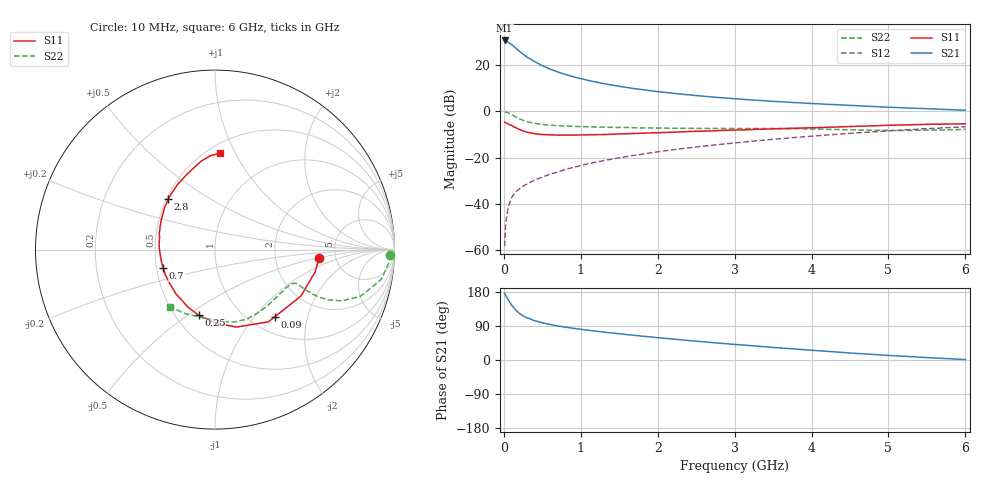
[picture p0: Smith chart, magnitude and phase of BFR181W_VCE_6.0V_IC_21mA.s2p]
! Infineon Technologies  Discrete & RF Semiconductors
! BFR181W
! VCE =  6.0 V,  IC =  21 mA
! Common Emitter S-Parameters:  Jan 2017
# GHz  S  MA  R  50
!  f  S11  S21  S12  S22
! GHz  MAG  ANG  MAG  ANG  MAG  ANG  MAG  ANG
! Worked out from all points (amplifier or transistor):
!   77 points, 10 MHz to 6 GHz, reference 50 ohm
!   highest |S21| = 30.7 dB at 10 MHz (marker M1)
!   |S21| within 3 dB of that: start of sweep to 143.9 MHz
!   unconditionally stable (mu >= 1): 646.3 MHz to 2.457 GHz
!   at 130 MHz: K = 0.42, MSG = 32.0 dB, |S12| = -36.0 dB
!   at 2.2 GHz: K = 1.03, MAG = 11.2 dB, |S12| = -16.7 dB
!   at 6 GHz: K = 0.82, MSG = 3.6 dB, |S12| = -6.7 dB
!   S11 on the Smith chart (normalised r, x): 10 MHz: 3.70, -0.55; 90 MHz: 1.28, -1.28; 250 MHz: 0.65, -0.55; 700 MHz: 0.54, -0.12; 2.8 GHz: 0.51, +0.34; 6 GHz: 0.58, +0.87
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0.01  0.5823 -4.8  34.33 176.1  0.0012 96.9  0.9747 -1.7
0.02  0.571 -12.9  33.71 171.7  0.0029 83.0  0.9745 -3.9
0.05  0.5438 -28.5  32.2 160.8  0.0072 76.4  0.9407 -10.2
0.09  0.5012 -48.2  28.7 148.1  0.0122 72.3  0.8681 -16.2
0.1  0.5006 -53.5  28.07 144.5  0.0134 71.7  0.8516 -17.8
0.15  0.4478 -74.5  23.85 132.6  0.0176 66.6  0.7619 -22.0
0.2  0.407 -90.5  20.17 123.3  0.0208 65.3  0.6903 -23.9
0.25  0.3769 -104.0  17.34 116.5  0.024 63.1  0.6386 -24.5
0.3  0.3545 -114.9  15.04 111.3  0.0266 63.7  0.5985 -24.5
0.4  0.3292 -131.2  11.89 103.7  0.0324 65.8  0.5491 -23.9
0.5  0.3149 -143.2  9.734 98.2  0.0374 67.0  0.5208 -23.3
0.6  0.3101 -152.9  8.248 93.8  0.0436 68.0  0.5021 -22.8
0.7  0.3067 -160.4  7.136 90.0  0.0483 70.3  0.4891 -22.7
0.9  0.3058 -172.9  5.63 83.7  0.0609 72.1  0.4735 -23.5
1.1  0.3112 177.8  4.668 78.5  0.0735 73.2  0.4631 -24.9
1.5  0.3243 163.2  3.486 69.3  0.0985 73.7  0.4476 -29.2
2.1  0.3488 147.1  2.569 57.2  0.1398 72.4  0.4324 -38.7
2.8  0.3844 132.7  1.989 44.4  0.1914 69.3  0.4266 -52.1
3.1  0.3973 127.0  1.826 39.6  0.2149 67.4  0.4246 -57.7
4.1  0.4464 110.6  1.452 24.3  0.2983 59.9  0.4127 -77.2
5.1  0.5036 97.6  1.21 10.9  0.3856 50.5  0.3857 -103.4
6  0.5378 87.1  1.057 1.0  0.4645 41.1  0.4071 -128.5
